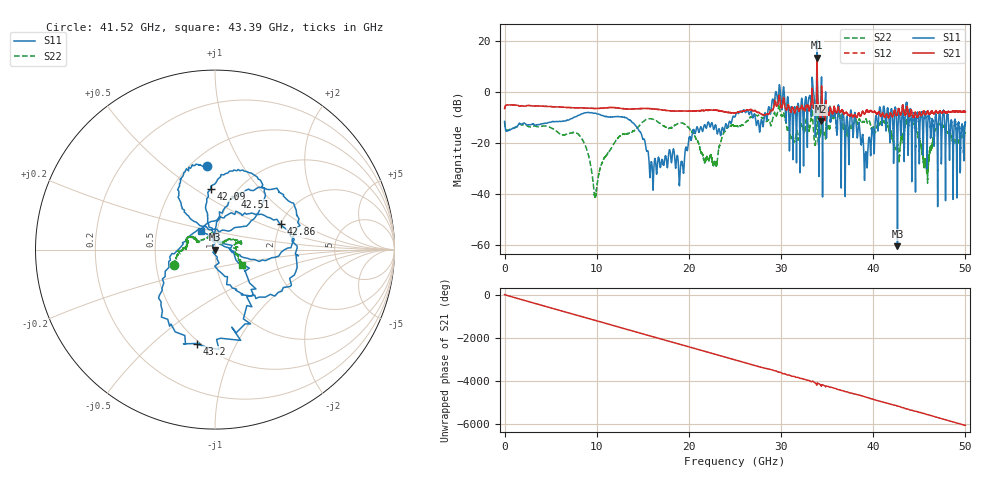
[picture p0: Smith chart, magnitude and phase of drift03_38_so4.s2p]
!Created with skrf (http://scikit-rf.org).
# Hz S RI R 50.0
!freq ReS11 ImS11 ReS21 ImS21 ReS12 ImS12 ReS22 ImS22
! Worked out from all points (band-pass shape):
!   10001 points, 300 kHz to 50 GHz, reference 50 ohm
!   highest |S21| = 13.55 dB at 33.9 GHz (marker M1); lowest = -11.5 dB at 34.32 GHz (marker M2)
!   |S21| within 3 dB of the highest: 33.8907 GHz to 33.90472 GHz (14.02 MHz wide, 0.0414 % of centre)
!   lowest |S11| = -60.5 dB at 42.63 GHz (marker M3), VSWR 1.00, Z = 50 - j0.0926 ohm
!   |S11| at or under -10 dB: start of sweep to 7.487 GHz; 13.13 GHz to 24.74 GHz (11.61 GHz wide, 61.3 % of centre); 38.09 GHz to 40.25 GHz (2.164 GHz wide, 5.52 % of centre) (the widest 3 of 51)
!   |S22| runs from -41.3 to 6.0 dB; largest |S21 - S12| = 0.37
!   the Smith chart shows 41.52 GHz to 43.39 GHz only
!   S11 on the Smith chart (normalised r, x): 41.52 GHz: 0.59, +0.71; 42.09 GHz: 0.76, +0.58; 42.51 GHz: 1.02, +0.67; 42.86 GHz: 2.01, +0.67; 43.2 GHz: 0.48, -0.71; 43.39 GHz: 0.83, +0.17
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300000  -0.2361 -0.1205  0.4668 0.0792  0.4648 0.0793  -0.2339 -0.125
1.440291e9  0.2099 0.0648  -0.5478 -0.0297  -0.548 -0.0293  0.2113 -0.00409
2.915283e9  -0.2122 -0.0882  0.5347 0.052  0.5347 0.0516  -0.2023 0.0403
8.33525e9  0.2887 -0.2331  0.146 0.4662  0.1459 0.4664  -0.0731 -0.1011
9.845241e9  -0.3636 0.1289  -0.1481 -0.4523  -0.1482 -0.4524  0.00842 0.00228
1.66702e10  0.0272 0.044  -0.379 0.2535  -0.3794 0.2531  -0.1275 -0.2197
2.500015e10  -0.3258 -0.0149  -0.2538 -0.297  -0.2536 -0.2986  -0.2122 0.0267
2.895513e10  -0.3238 0.4328  -0.2881 0.3262  -0.2993 0.2906  0.0645 0.2213
3.006512e10  0.3996 0.2655  0.4506 -0.1967  0.4529 -0.1822  0.1745 -0.2977
3.171011e10  -0.0908 0.1875  -0.3607 0.3563  -0.3607 0.3532  0.0644 0.1575
3.33351e10  0.6271 -0.7814  0.2663 -0.8345  0.2622 -0.8162  -0.1848 -0.4234
3.38951e10  -2.752 -9.907  -4.668 0.9189  -4.356 1.122  0.5599 1.904
3.432009e10  -0.78 0.000752  -0.1797 0.1976  -0.2414 0.1773  0.143 -0.072
4.152005e10  -0.0455 0.4677  0.3347 0.1248  0.3354 0.1214  -0.2302 -0.0865
4.167005e10  -0.201 0.3014  0.3158 0.0042  0.315 0.00737  -0.1842 -0.0082
4.208505e10  -0.0231 0.3398  0.2361 -0.23  0.2364 -0.2317  -0.1131 0.0613
4.250504e10  0.1092 0.2962  -0.012 -0.3501  -0.0132 -0.3474  -0.0295 0.0699
4.263004e10  -0.000181 -0.000927  -0.1701 -0.3414  -0.1641 -0.3442  -0.0228 0.0909
4.286004e10  0.3675 0.1415  -0.2622 -0.2934  -0.2654 -0.2953  0.0513 0.0385
4.320004e10  -0.1013 -0.5262  -0.5534 0.0488  -0.5387 0.0431  0.1205 0.0296
4.338504e10  -0.0807 0.1027  -0.3447 0.1654  -0.3385 0.1659  0.1481 -0.0886
5e10  -0.1237 -0.2205  0.1427 0.3846  0.1399 0.3857  -0.0539 -0.1456
